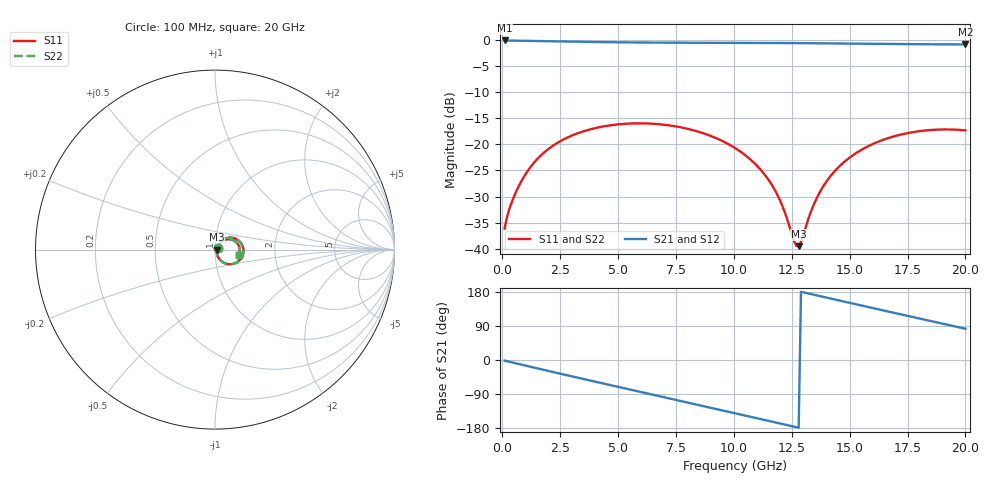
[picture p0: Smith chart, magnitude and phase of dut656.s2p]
! Touchstone file exported from HFSS 2026.1.0
!  File:  C:/ffzhzh/LocalFiles/Ansys_Project_Files/temp_train_TSV_RDL_656_1783129914_35180.aedt
!  Generated:  10:01:05 AM Jul  4, 2026
!  Design:  TSV_RDL
!  Project:  temp_train_TSV_RDL_656_1783129914_35180
! Variables:
!  h_bsmrdl = 5.76um
!  h_ox = 20um
!  h_rdl = 5um
!  h_sub = 58.56um
!  h_tmrdl = 5.93um
!  h_tsv = 58.56um
!  h_via = 3um
!  l_bsmrdl = 216.37um
!  l_sub = 5017.79um
!  l_tmrdl = 956.08um
!  m_sub = 200um
!  pitch = 32.98um
!  r_tsv = 6.56um
!  s_tmrdl = 10um
!  w_bsmrdl = 23.5um
!  w_sub = 500um
!  w_tmrdl = 24.62um
!  x_tsv_center1 = 968.39um
!  x_tsv_center2 = 1208.26um
!  x_tsv_center3 = 2188.96um
!  x_tsv_center4 = 2428.83um
!  x_tsv_center5 = 3409.53um
!  x_tsv_center6 = 3649.4um
# GHz S MA R 50.000000
! Terminal data exported
! Port[1] = TM_RDL1_1_T1
! Port[2] = TM_RDL5_1_T1
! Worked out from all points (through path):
!   200 points, 100 MHz to 20 GHz, reference 50 ohm
!   highest |S21| = -0.12 dB at 100 MHz (marker M1); lowest = -0.9 dB at 20 GHz (marker M2)
!   group delay of S21, straight-line fit = 38.4 ps
!   lowest |S11| = -39.5 dB at 12.8 GHz (marker M3), VSWR 1.02, Z = 51.1 + j0.00957 ohm
!   |S11| at or under -10 dB: start of sweep to end of sweep
!   |S22| runs from -39.4 to -16.0 dB; largest |S21 - S12| = 1.6e-14
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0.1  0.01558 25.6  0.9861 -1.6  0.9861 -1.6  0.01558 25.6
! Gamma 0 0 0 0
! Port Impedance 50 0 50 0
0.3  0.02387 40.5  0.983 -4.6  0.983 -4.6  0.02387 40.5
0.5  0.03141 47.2  0.9815 -7.4  0.9815 -7.4  0.03141 47.2
1.3  0.06391 51.0  0.9761 -19.0  0.9761 -19.0  0.06391 51.0
2.3  0.1007 41.1  0.967 -33.3  0.967 -33.3  0.1007 41.1
3.5  0.1331 26.1  0.9563 -50.1  0.9563 -50.1  0.1331 26.1
5.2  0.1565 4.6  0.9454 -73.5  0.9454 -73.5  0.1565 4.6
6.8  0.1555 -15.6  0.94 -95.5  0.94 -95.5  0.1555 -15.6
8.4  0.1334 -35.5  0.9378 -117.5  0.9378 -117.5  0.1334 -35.5
10.1  0.09068 -55.5  0.9363 -141.0  0.9363 -141.0  0.09065 -55.5
10.9  0.0656 -63.4  0.9351 -152.2  0.9351 -152.2  0.06558 -63.4
11.6  0.04225 -67.5  0.9336 -161.9  0.9336 -161.9  0.04222 -67.4
12.1  0.02559 -64.3  0.9323 -168.9  0.9323 -168.9  0.02557 -64.1
12.6  0.01188 -33.1  0.9307 -175.9  0.9307 -175.9  0.01191 -32.8
12.8  0.01059 0.5  0.9299 -178.7  0.9299 -178.7  0.01067 0.7
13.4  0.02485 49.5  0.9276 173.0  0.9276 173.0  0.02493 49.3
14  0.04408 52.8  0.925 164.7  0.925 164.7  0.04415 52.6
14.7  0.06585 48.2  0.9217 155.0  0.9217 155.0  0.06592 48.1
15.6  0.0909 39.1  0.9173 142.6  0.9173 142.6  0.09098 39.0
16.7  0.1153 26.4  0.9123 127.5  0.9123 127.5  0.1154 26.3
18.4  0.1365 5.8  0.9064 104.3  0.9064 104.3  0.1366 5.7
20  0.136 -13.7  0.9035 82.4  0.9035 82.4  0.1361 -13.9
